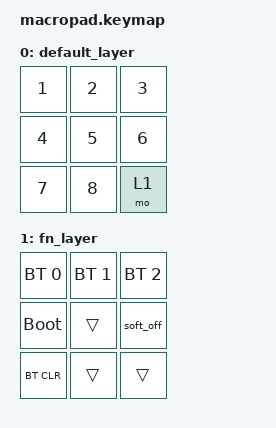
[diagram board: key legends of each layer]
#include <behaviors.dtsi>
#include <dt-bindings/zmk/keys.h>
#include <dt-bindings/zmk/bt.h>

// Fn + middle-right: hold 2 s to power off. Any key turns it back on.
&soft_off {
    hold-time-ms = <2000>;
};

/ {
    keymap {
        compatible = "zmk,keymap";

        default_layer {
            bindings = <
                &kp N1  &kp N2  &kp N3
                &kp N4  &kp N5  &kp N6
                &kp N7  &kp N8  &mo 1
            >;
        };

        fn_layer {
            bindings = <
                &bt BT_SEL 0  &bt BT_SEL 1  &bt BT_SEL 2
                &bootloader   &trans        &soft_off
                &bt BT_CLR    &trans        &trans
            >;
        };
    };
};
